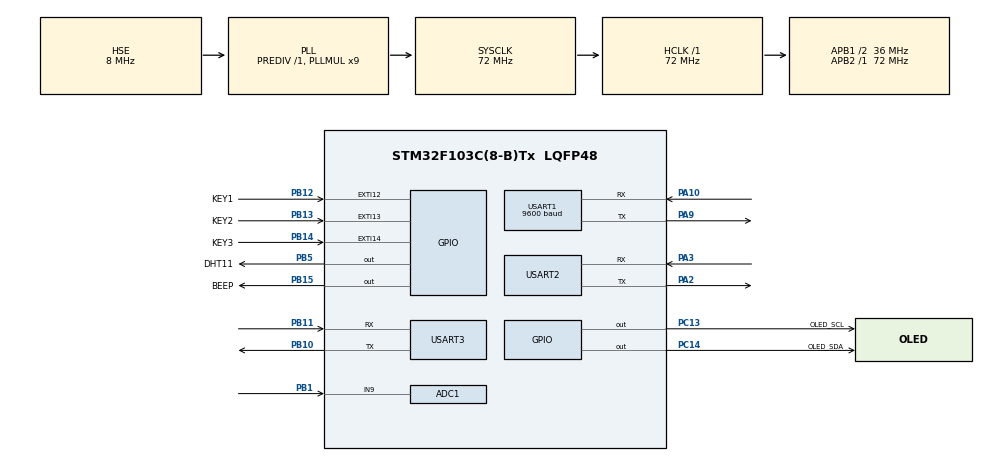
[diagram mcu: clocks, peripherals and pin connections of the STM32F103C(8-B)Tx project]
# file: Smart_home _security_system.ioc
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ADC1.Channel-0\#ChannelRegularConversion=ADC_CHANNEL_9
ADC1.NbrOfConversionFlag=1
ADC1.Rank-0\#ChannelRegularConversion=1
ADC1.SamplingTime-0\#ChannelRegularConversion=ADC_SAMPLETIME_1CYCLE_5
ADC1.master=1
Dma.Request0=USART2_RX
Dma.Request1=USART2_TX
Dma.USART2_RX.0.Direction=DMA_PERIPH_TO_MEMORY
Dma.USART2_RX.0.Instance=DMA1_Channel6
Dma.USART2_RX.0.MemDataAlignment=DMA_MDATAALIGN_BYTE
Dma.USART2_RX.0.MemInc=DMA_MINC_ENABLE
Dma.USART2_RX.0.Mode=DMA_NORMAL
Dma.USART2_RX.0.PeriphDataAlignment=DMA_PDATAALIGN_BYTE
Dma.USART2_RX.0.PeriphInc=DMA_PINC_DISABLE
Dma.USART2_RX.0.Priority=DMA_PRIORITY_LOW
Dma.USART2_TX.1.Direction=DMA_MEMORY_TO_PERIPH
Dma.USART2_TX.1.Instance=DMA1_Channel7
Dma.USART2_TX.1.MemDataAlignment=DMA_MDATAALIGN_BYTE
Dma.USART2_TX.1.MemInc=DMA_MINC_ENABLE
Dma.USART2_TX.1.Mode=DMA_NORMAL
Dma.USART2_TX.1.PeriphDataAlignment=DMA_PDATAALIGN_BYTE
Dma.USART2_TX.1.PeriphInc=DMA_PINC_DISABLE
Dma.USART2_TX.1.Priority=DMA_PRIORITY_LOW
Mcu.Family=STM32F1
Mcu.Name=STM32F103C(8-B)Tx
Mcu.Package=LQFP48
NVIC.DMA1_Channel6_IRQn=true\:0\:0\:false\:false\:true\:false\:true\:true
NVIC.DMA1_Channel7_IRQn=true\:0\:0\:false\:false\:true\:false\:true\:true
NVIC.EXTI15_10_IRQn=true\:0\:0\:false\:false\:true\:true\:true\:true
NVIC.PriorityGroup=NVIC_PRIORITYGROUP_4
NVIC.USART1_IRQn=true\:3\:0\:true\:false\:true\:true\:true\:true
NVIC.USART2_IRQn=true\:2\:0\:true\:false\:true\:true\:true\:true
PA10.Mode=Asynchronous
PA10.Signal=USART1_RX
PA13.Mode=Serial_Wire
PA13.Signal=SYS_JTMS-SWDIO
PA14.Mode=Serial_Wire
PA14.Signal=SYS_JTCK-SWCLK
PA2.Mode=Asynchronous
PA2.Signal=USART2_TX
PA3.Mode=Asynchronous
PA3.Signal=USART2_RX
PA9.Mode=Asynchronous
PA9.Signal=USART1_TX
PB1.Signal=ADCx_IN9
PB10.Mode=Asynchronous
PB10.Signal=USART3_TX
PB11.Mode=Asynchronous
PB11.Signal=USART3_RX
PB12.GPIO_Label=KEY1
PB12.GPIO_ModeDefaultEXTI=GPIO_MODE_IT_FALLING
PB12.GPIO_PuPd=GPIO_PULLUP
PB12.Signal=GPXTI12
PB13.GPIO_Label=KEY2
PB13.GPIO_ModeDefaultEXTI=GPIO_MODE_IT_FALLING
PB13.GPIO_PuPd=GPIO_PULLUP
PB13.Signal=GPXTI13
PB14.GPIO_Label=KEY3
PB14.GPIO_ModeDefaultEXTI=GPIO_MODE_IT_FALLING
PB14.GPIO_PuPd=GPIO_PULLUP
PB14.Signal=GPXTI14
PB15.GPIO_Label=BEEP
PB15.GPIO_PuPd=GPIO_PULLDOWN
PB15.GPIO_Speed=GPIO_SPEED_FREQ_HIGH
PB15.PinState=GPIO_PIN_SET
PB15.Signal=GPIO_Output
PB5.GPIO_Label=DHT11
PB5.GPIO_ModeDefaultOutputPP=GPIO_MODE_OUTPUT_PP
PB5.GPIO_PuPd=GPIO_PULLUP
PB5.GPIO_Speed=GPIO_SPEED_FREQ_HIGH
PB5.PinState=GPIO_PIN_SET
PB5.Signal=GPIO_Output
PC13-TAMPER-RTC.GPIO_Label=OLED_SCL
PC13-TAMPER-RTC.GPIO_ModeDefaultOutputPP=GPIO_MODE_OUTPUT_PP
PC13-TAMPER-RTC.GPIO_PuPd=GPIO_PULLUP
PC13-TAMPER-RTC.GPIO_Speed=GPIO_SPEED_FREQ_HIGH
PC13-TAMPER-RTC.PinState=GPIO_PIN_SET
PC13-TAMPER-RTC.Signal=GPIO_Output
PC14-OSC32_IN.GPIO_Label=OLED_SDA
PC14-OSC32_IN.GPIO_ModeDefaultOutputPP=GPIO_MODE_OUTPUT_PP
PC14-OSC32_IN.GPIO_PuPd=GPIO_PULLUP
PC14-OSC32_IN.GPIO_Speed=GPIO_SPEED_FREQ_HIGH
PC14-OSC32_IN.PinState=GPIO_PIN_SET
PC14-OSC32_IN.Signal=GPIO_Output
PD0-OSC_IN.Mode=HSE-External-Oscillator
PD0-OSC_IN.Signal=RCC_OSC_IN
PD1-OSC_OUT.Mode=HSE-External-Oscillator
PD1-OSC_OUT.Signal=RCC_OSC_OUT
ProjectManager.HeapSize=0x200
ProjectManager.StackSize=0x400
ProjectManager.TargetToolchain=MDK-ARM V5.32
RCC.ADCPresc=RCC_ADCPCLK2_DIV6
RCC.AHBFreq_Value=72000000
RCC.APB1CLKDivider=RCC_HCLK_DIV2
RCC.APB1Freq_Value=36000000
RCC.APB1TimFreq_Value=72000000
RCC.APB2Freq_Value=72000000
RCC.APB2TimFreq_Value=72000000
RCC.HCLKFreq_Value=72000000
RCC.PLLMUL=RCC_PLL_MUL9
RCC.PLLSourceVirtual=RCC_PLLSOURCE_HSE
RCC.SYSCLKFreq_VALUE=72000000
RCC.SYSCLKSource=RCC_SYSCLKSOURCE_PLLCLK
RCC.USBFreq_Value=72000000
SH.ADCx_IN9.0=ADC1_IN9,IN9
USART1.BaudRate=9600
USART1.VirtualMode=VM_ASYNC
USART2.VirtualMode=VM_ASYNC
USART3.VirtualMode=VM_ASYNC
board=custom

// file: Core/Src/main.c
/* USER CODE BEGIN Header */
/**
  ******************************************************************************
  * @file           : main.c
  * @brief          : Main program body
  ******************************************************************************
  * @attention
  *
  * Copyright (c) 2026 STMicroelectronics.
  * All rights reserved.
  *
  * This software is licensed under terms that can be found in the LICENSE file
  * in the root directory of this software component.
  * If no LICENSE file comes with this software, it is provided AS-IS.
  *
  ******************************************************************************
  */
/* USER CODE END Header */
#include "main.h"
#include "adc.h"
#include "dma.h"
#include "usart.h"
#include "gpio.h"

/* USER CODE BEGIN Includes */
#include "ui.h"
#include "usart.h"
#include "esp8266.h"
/* USER CODE END Includes */

void SystemClock_Config(void);

int main(void)
{

  /* USER CODE BEGIN 1 */
  uint8_t wifi_try = 0, mqtt_try = 0;
  /* USER CODE END 1 */

  /* MCU Configuration--------------------------------------------------------*/

  /* Reset of all peripherals, Initializes the Flash interface and the Systick. */
  HAL_Init();

  /* Configure the system clock */
  SystemClock_Config();

  /* Initialize all configured peripherals */
  MX_GPIO_Init();
  MX_DMA_Init();
  MX_USART1_UART_Init();
  MX_ADC1_Init();
  MX_USART3_UART_Init();
  MX_USART2_UART_Init();
  /* USER CODE BEGIN 2 */
	Delay_Init();
	#if DEBUG
	  printf("go\r\n");
	#endif

  UI_Init();
  ESP8266_Init();
//	  while (wifi_try < 5 && !ESP8266_ConnectWiFi())
//  {
//      HAL_UART_Transmit(&huart3, (uint8_t*)"WiFi connect retry\r\n", 20, 100);
//      wifi_try++;
//      delay_ms(1000);
//  }
  //UART_Start_Receive();
  // 上电语音播报测试
	#if DEBUG

	#else
  uint8_t power_on_data[] = {0xFD, 0x00, 0x0A, 0x01, 0x01, 0xC9, 0xCF, 0xB5, 0xE7, 0xD5, 0xFD, 0xB3, 0xA3}; // "上电正常"
  HAL_UART_Transmit(&huart3, power_on_data, sizeof(power_on_data), 1000);
  HAL_Delay(2000); // 等待语音播报完成
	#endif
  /* USER CODE END 2 */

  /* Infinite loop */
  /* USER CODE BEGIN WHILE */
  while (1)
  {
   //UI_Update();
    HAL_Delay(10);
    /* USER CODE END WHILE */

  }
}

void SystemClock_Config(void)
{
  RCC_OscInitTypeDef RCC_OscInitStruct = {0};
  RCC_ClkInitTypeDef RCC_ClkInitStruct = {0};
  RCC_PeriphCLKInitTypeDef PeriphClkInit = {0};

  /** Initializes the RCC Oscillators according to the specified parameters
  * in the RCC_OscInitTypeDef structure.
  */
  RCC_OscInitStruct.OscillatorType = RCC_OSCILLATORTYPE_HSE;
  RCC_OscInitStruct.HSEState = RCC_HSE_ON;
  RCC_OscInitStruct.HSEPredivValue = RCC_HSE_PREDIV_DIV1;
  RCC_OscInitStruct.HSIState = RCC_HSI_ON;
  RCC_OscInitStruct.PLL.PLLState = RCC_PLL_ON;
  RCC_OscInitStruct.PLL.PLLSource = RCC_PLLSOURCE_HSE;
  RCC_OscInitStruct.PLL.PLLMUL = RCC_PLL_MUL9;
  if (HAL_RCC_OscConfig(&RCC_OscInitStruct) != HAL_OK)
  {
    Error_Handler();
  }

  /** Initializes the CPU, AHB and APB buses clocks
  */
  RCC_ClkInitStruct.ClockType = RCC_CLOCKTYPE_HCLK|RCC_CLOCKTYPE_SYSCLK
                              |RCC_CLOCKTYPE_PCLK1|RCC_CLOCKTYPE_PCLK2;
  RCC_ClkInitStruct.SYSCLKSource = RCC_SYSCLKSOURCE_PLLCLK;
  RCC_ClkInitStruct.AHBCLKDivider = RCC_SYSCLK_DIV1;
  RCC_ClkInitStruct.APB1CLKDivider = RCC_HCLK_DIV2;
  RCC_ClkInitStruct.APB2CLKDivider = RCC_HCLK_DIV1;

  if (HAL_RCC_ClockConfig(&RCC_ClkInitStruct, FLASH_LATENCY_2) != HAL_OK)
  {
    Error_Handler();
  }
  PeriphClkInit.PeriphClockSelection = RCC_PERIPHCLK_ADC;
  PeriphClkInit.AdcClockSelection = RCC_ADCPCLK2_DIV6;
  if (HAL_RCCEx_PeriphCLKConfig(&PeriphClkInit) != HAL_OK)
  {
    Error_Handler();
  }
}

void Error_Handler(void)
{
  __disable_irq();
  while (1)
  {
  }
}
